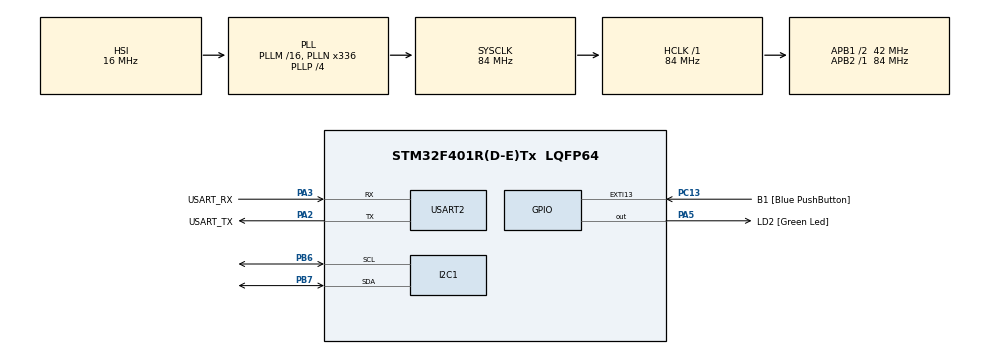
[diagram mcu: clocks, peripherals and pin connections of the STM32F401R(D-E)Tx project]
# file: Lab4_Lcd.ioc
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Mcu.Family=STM32F4
Mcu.Name=STM32F401R(D-E)Tx
Mcu.Package=LQFP64
NVIC.PriorityGroup=NVIC_PRIORITYGROUP_0
NVIC.TIM1_BRK_TIM9_IRQn=true\:0\:0\:false\:false\:true\:true\:true\:true
PA13.GPIO_Label=TMS
PA13.Mode=Serial_Wire
PA13.Signal=SYS_JTMS-SWDIO
PA14.GPIO_Label=TCK
PA14.Mode=Serial_Wire
PA14.Signal=SYS_JTCK-SWCLK
PA2.GPIO_Label=USART_TX
PA2.GPIO_Mode=GPIO_MODE_AF_PP
PA2.GPIO_PuPd=GPIO_NOPULL
PA2.GPIO_Speed=GPIO_SPEED_FREQ_LOW
PA2.Mode=Asynchronous
PA2.Signal=USART2_TX
PA3.GPIO_Label=USART_RX
PA3.GPIO_Mode=GPIO_MODE_AF_PP
PA3.GPIO_PuPd=GPIO_NOPULL
PA3.GPIO_Speed=GPIO_SPEED_FREQ_LOW
PA3.Mode=Asynchronous
PA3.Signal=USART2_RX
PA5.GPIO_Label=LD2 [Green Led]
PA5.GPIO_Mode=GPIO_MODE_OUTPUT_PP
PA5.GPIO_PuPd=GPIO_NOPULL
PA5.GPIO_Speed=GPIO_SPEED_FREQ_LOW
PA5.Signal=GPIO_Output
PB3.GPIO_Label=SWO
PB3.Signal=SYS_JTDO-SWO
PB6.Mode=I2C
PB6.Signal=I2C1_SCL
PB7.Mode=I2C
PB7.Signal=I2C1_SDA
PC13-ANTI_TAMP.GPIO_Label=B1 [Blue PushButton]
PC13-ANTI_TAMP.GPIO_ModeDefaultEXTI=GPIO_MODE_IT_FALLING
PC13-ANTI_TAMP.GPIO_PuPd=GPIO_NOPULL
PC13-ANTI_TAMP.Signal=GPXTI13
PC14-OSC32_IN.Mode=LSE-External-Oscillator
PC14-OSC32_IN.Signal=RCC_OSC32_IN
PC15-OSC32_OUT.Mode=LSE-External-Oscillator
PC15-OSC32_OUT.Signal=RCC_OSC32_OUT
PH0\ -\ OSC_IN.Mode=HSE-External-Clock-Source
PH0\ -\ OSC_IN.Signal=RCC_OSC_IN
PH1\ -\ OSC_OUT.Mode=HSE-External-Clock-Source
PH1\ -\ OSC_OUT.Signal=RCC_OSC_OUT
ProjectManager.HeapSize=0x200
ProjectManager.StackSize=0x400
ProjectManager.TargetToolchain=STM32CubeIDE
RCC.48MHZClocksFreq_Value=48000000
RCC.AHBFreq_Value=84000000
RCC.APB1CLKDivider=RCC_HCLK_DIV2
RCC.APB1Freq_Value=42000000
RCC.APB1TimFreq_Value=84000000
RCC.APB2Freq_Value=84000000
RCC.APB2TimFreq_Value=84000000
RCC.CortexFreq_Value=84000000
RCC.HCLKFreq_Value=84000000
RCC.HSE_VALUE=8000000
RCC.HSI_VALUE=16000000
RCC.PLLN=336
RCC.PLLP=RCC_PLLP_DIV4
RCC.PLLQ=7
RCC.SYSCLKFreq_VALUE=84000000
RCC.SYSCLKSource=RCC_SYSCLKSOURCE_PLLCLK
RCC.VCOOutputFreq_Value=336000000
TIM2.Period=999
TIM2.Prescaler=83
TIM9.Period=999
TIM9.Prescaler=41999
USART2.VirtualMode=VM_ASYNC
VP_TIM2_VS_ClockSourceINT.Mode=Internal
VP_TIM9_VS_ClockSourceINT.Mode=Internal
board=NUCLEO-F401RE

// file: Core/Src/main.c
/* USER CODE BEGIN Header */
/**
  ******************************************************************************
  * @file           : main.c
  * @brief          : Main program body
  ******************************************************************************
  * @attention
  *
  * Copyright (c) 2024 STMicroelectronics.
  * All rights reserved.
  *
  * This software is licensed under terms that can be found in the LICENSE file
  * in the root directory of this software component.
  * If no LICENSE file comes with this software, it is provided AS-IS.
  *
  ******************************************************************************
  */
/* USER CODE END Header */
#include "main.h"

/* USER CODE BEGIN Includes */
#include "lcd.h"
#include <stdio.h>
/* USER CODE END Includes */

I2C_HandleTypeDef hi2c1;

TIM_HandleTypeDef htim2;
TIM_HandleTypeDef htim9;

UART_HandleTypeDef huart2;

/* USER CODE BEGIN PV */
/* Declare LCD variable at the beginning of main() or as a global variable */
TextLCDType lcd;

struct clock_data {
    uint8_t hours;
    uint8_t minutes;
    uint8_t seconds;
};

struct clock_data my_clock;

volatile uint8_t time_update_flag = 0;  // Global flagga för tidsuppdatering

/* USER CODE END PV */

void SystemClock_Config(void);
static void MX_GPIO_Init(void);
static void MX_USART2_UART_Init(void);
static void MX_I2C1_Init(void);
static void MX_TIM2_Init(void);
static void MX_TIM9_Init(void);

/* USER CODE BEGIN 0 */

void cd_set(struct clock_data *pcd, uint8_t hrs, uint8_t min, uint8_t sec) {
    pcd->hours = hrs;
    pcd->minutes = min;
    pcd->seconds = sec;
}

void cd_tick(struct clock_data *pcd) {
    pcd->seconds++;
    if (pcd->seconds >= 60) {
        pcd->seconds = 0;
        pcd->minutes++;
        if (pcd->minutes >= 60) {
            pcd->minutes = 0;
            pcd->hours++;
            if (pcd->hours >= 24) {
                pcd->hours = 0;
            }
        }
    }
}

void DisplayTimeOnLCD(TextLCDType *hlcd, uint8_t hours, uint8_t minutes, uint8_t seconds) {
    char time_str[12];  // Format för HH:MM:SS
    sprintf(time_str, "%02d:%02d:%02d", hours, minutes, seconds);  // Formatera tiden
    //TextLCD_Clear(hlcd);  // Rensa LCD-skärmen
    TextLCD_Position(hlcd, 0, 1);  // Ställ in position på andra raden
    TextLCD_PutStr(hlcd, time_str);  // Skriv ut tiden på LCD
}

void uart_print_cd(UART_HandleTypeDef *huart, struct clock_data *pcd) {
    char buffer[30];
    int len;

    // Format time as HH:MM:SS
    len = sprintf(buffer, "\r%02d:%02d:%02d", pcd->hours, pcd->minutes, pcd->seconds);

    // Send the formatted string via UART
    HAL_UART_Transmit(huart, (uint8_t*)buffer, len, HAL_MAX_DELAY);
}

void clock_mode(void) {
    cd_set(&my_clock, 23, 59, 45);
    TextLCD_Clear(&lcd);  // Rensa LCD-skärmen

    DisplayTimeOnLCD(&lcd, my_clock.hours, my_clock.minutes, my_clock.seconds);

    HAL_TIM_Base_Start_IT(&htim9);

    while (1) {
        DisplayTimeOnLCD(&lcd, my_clock.hours, my_clock.minutes, my_clock.seconds);

        // Kontrollera om tiden ska uppdateras
        if (time_update_flag) {
            cd_tick(&my_clock);  // Uppdatera klockan
            time_update_flag = 0;
        }
    }
}

void wait_for_button_press(void)
{
    while (HAL_GPIO_ReadPin(B1_GPIO_Port, B1_Pin) == GPIO_PIN_SET)
    {
        /* Gör ingenting, vänta på att knappen trycks ned */
    }

    while (HAL_GPIO_ReadPin(B1_GPIO_Port, B1_Pin) == GPIO_PIN_RESET)
    {
        /* Gör ingenting, vänta på att knappen släpps */
    }
}

void HAL_TIM_PeriodElapsedCallback(TIM_HandleTypeDef *htim) {
    static uint8_t half_second_flag = 0;

    if (htim->Instance == TIM9) {
        half_second_flag = !half_second_flag;  // Toggla flagga för halv sekund

        if (!half_second_flag) {  // Endast när en sekund har passerat
            time_update_flag = 1;
        }
    }
}

/* USER CODE END 0 */

int main(void)
{

  /* MCU Configuration--------------------------------------------------------*/

  /* Reset of all peripherals, Initializes the Flash interface and the Systick. */
  HAL_Init();

  /* Configure the system clock */
  SystemClock_Config();

  /* Initialize all configured peripherals */
  MX_GPIO_Init();
  MX_USART2_UART_Init();
  MX_I2C1_Init();
  MX_TIM2_Init();
  MX_TIM9_Init();
  /* USER CODE BEGIN 2 */

  TextLCD_Init(&lcd, &hi2c1, 0x4E);

  TextLCD_Home(&lcd);

  TextLCD_PutStr(&lcd, "Hello World");
 // while(1) My_Delay(1);
  clock_mode();  // Starta klockläget

  char c = 0;
  const char ASCII_CAPITAL_OFFSET = 'A';
  const char LETTERS_TOTAL = 'Z' - 'A' + 1;

  /* USER CODE END 2 */

  /* Infinite loop */
  /* USER CODE BEGIN WHILE */
  while (1)
  {

	wait_for_button_press();  // Vänta på knapptryckning
	TextLCD_PutChar(&lcd, c + ASCII_CAPITAL_OFFSET);  // Visa bokstaven
	c = (c + 1) % LETTERS_TOTAL;  // Gå vidare till nästa bokstav
    /* USER CODE END WHILE */

  }
}

void SystemClock_Config(void)
{
  RCC_OscInitTypeDef RCC_OscInitStruct = {0};
  RCC_ClkInitTypeDef RCC_ClkInitStruct = {0};

  /** Configure the main internal regulator output voltage
  */
  __HAL_RCC_PWR_CLK_ENABLE();
  __HAL_PWR_VOLTAGESCALING_CONFIG(PWR_REGULATOR_VOLTAGE_SCALE2);

  /** Initializes the RCC Oscillators according to the specified parameters
  * in the RCC_OscInitTypeDef structure.
  */
  RCC_OscInitStruct.OscillatorType = RCC_OSCILLATORTYPE_HSI;
  RCC_OscInitStruct.HSIState = RCC_HSI_ON;
  RCC_OscInitStruct.HSICalibrationValue = RCC_HSICALIBRATION_DEFAULT;
  RCC_OscInitStruct.PLL.PLLState = RCC_PLL_ON;
  RCC_OscInitStruct.PLL.PLLSource = RCC_PLLSOURCE_HSI;
  RCC_OscInitStruct.PLL.PLLM = 16;
  RCC_OscInitStruct.PLL.PLLN = 336;
  RCC_OscInitStruct.PLL.PLLP = RCC_PLLP_DIV4;
  RCC_OscInitStruct.PLL.PLLQ = 7;
  if (HAL_RCC_OscConfig(&RCC_OscInitStruct) != HAL_OK)
  {
    Error_Handler();
  }

  /** Initializes the CPU, AHB and APB buses clocks
  */
  RCC_ClkInitStruct.ClockType = RCC_CLOCKTYPE_HCLK|RCC_CLOCKTYPE_SYSCLK
                              |RCC_CLOCKTYPE_PCLK1|RCC_CLOCKTYPE_PCLK2;
  RCC_ClkInitStruct.SYSCLKSource = RCC_SYSCLKSOURCE_PLLCLK;
  RCC_ClkInitStruct.AHBCLKDivider = RCC_SYSCLK_DIV1;
  RCC_ClkInitStruct.APB1CLKDivider = RCC_HCLK_DIV2;
  RCC_ClkInitStruct.APB2CLKDivider = RCC_HCLK_DIV1;

  if (HAL_RCC_ClockConfig(&RCC_ClkInitStruct, FLASH_LATENCY_2) != HAL_OK)
  {
    Error_Handler();
  }
}

static void MX_I2C1_Init(void)
{

  hi2c1.Instance = I2C1;
  hi2c1.Init.ClockSpeed = 100000;
  hi2c1.Init.DutyCycle = I2C_DUTYCYCLE_2;
  hi2c1.Init.OwnAddress1 = 0;
  hi2c1.Init.AddressingMode = I2C_ADDRESSINGMODE_7BIT;
  hi2c1.Init.DualAddressMode = I2C_DUALADDRESS_DISABLE;
  hi2c1.Init.OwnAddress2 = 0;
  hi2c1.Init.GeneralCallMode = I2C_GENERALCALL_DISABLE;
  hi2c1.Init.NoStretchMode = I2C_NOSTRETCH_DISABLE;
  if (HAL_I2C_Init(&hi2c1) != HAL_OK)
  {
    Error_Handler();
  }

}

static void MX_TIM2_Init(void)
{

  TIM_ClockConfigTypeDef sClockSourceConfig = {0};
  TIM_MasterConfigTypeDef sMasterConfig = {0};

  htim2.Instance = TIM2;
  htim2.Init.Prescaler = 83;
  htim2.Init.CounterMode = TIM_COUNTERMODE_UP;
  htim2.Init.Period = 999;
  htim2.Init.ClockDivision = TIM_CLOCKDIVISION_DIV1;
  htim2.Init.AutoReloadPreload = TIM_AUTORELOAD_PRELOAD_DISABLE;
  if (HAL_TIM_Base_Init(&htim2) != HAL_OK)
  {
    Error_Handler();
  }
  sClockSourceConfig.ClockSource = TIM_CLOCKSOURCE_INTERNAL;
  if (HAL_TIM_ConfigClockSource(&htim2, &sClockSourceConfig) != HAL_OK)
  {
    Error_Handler();
  }
  sMasterConfig.MasterOutputTrigger = TIM_TRGO_RESET;
  sMasterConfig.MasterSlaveMode = TIM_MASTERSLAVEMODE_DISABLE;
  if (HAL_TIMEx_MasterConfigSynchronization(&htim2, &sMasterConfig) != HAL_OK)
  {
    Error_Handler();
  }

}

static void MX_TIM9_Init(void)
{

  TIM_ClockConfigTypeDef sClockSourceConfig = {0};

  htim9.Instance = TIM9;
  htim9.Init.Prescaler = 41999;
  htim9.Init.CounterMode = TIM_COUNTERMODE_UP;
  htim9.Init.Period = 999;
  htim9.Init.ClockDivision = TIM_CLOCKDIVISION_DIV1;
  htim9.Init.AutoReloadPreload = TIM_AUTORELOAD_PRELOAD_DISABLE;
  if (HAL_TIM_Base_Init(&htim9) != HAL_OK)
  {
    Error_Handler();
  }
  sClockSourceConfig.ClockSource = TIM_CLOCKSOURCE_INTERNAL;
  if (HAL_TIM_ConfigClockSource(&htim9, &sClockSourceConfig) != HAL_OK)
  {
    Error_Handler();
  }

}

static void MX_USART2_UART_Init(void)
{

  huart2.Instance = USART2;
  huart2.Init.BaudRate = 115200;
  huart2.Init.WordLength = UART_WORDLENGTH_8B;
  huart2.Init.StopBits = UART_STOPBITS_1;
  huart2.Init.Parity = UART_PARITY_NONE;
  huart2.Init.Mode = UART_MODE_TX_RX;
  huart2.Init.HwFlowCtl = UART_HWCONTROL_NONE;
  huart2.Init.OverSampling = UART_OVERSAMPLING_16;
  if (HAL_UART_Init(&huart2) != HAL_OK)
  {
    Error_Handler();
  }

}

static void MX_GPIO_Init(void)
{
  GPIO_InitTypeDef GPIO_InitStruct = {0};

  /* GPIO Ports Clock Enable */
  __HAL_RCC_GPIOC_CLK_ENABLE();
  __HAL_RCC_GPIOH_CLK_ENABLE();
  __HAL_RCC_GPIOA_CLK_ENABLE();
  __HAL_RCC_GPIOB_CLK_ENABLE();

  /*Configure GPIO pin Output Level */
  HAL_GPIO_WritePin(LD2_GPIO_Port, LD2_Pin, GPIO_PIN_RESET);

  /*Configure GPIO pin : B1_Pin */
  GPIO_InitStruct.Pin = B1_Pin;
  GPIO_InitStruct.Mode = GPIO_MODE_IT_FALLING;
  GPIO_InitStruct.Pull = GPIO_NOPULL;
  HAL_GPIO_Init(B1_GPIO_Port, &GPIO_InitStruct);

  /*Configure GPIO pin : LD2_Pin */
  GPIO_InitStruct.Pin = LD2_Pin;
  GPIO_InitStruct.Mode = GPIO_MODE_OUTPUT_PP;
  GPIO_InitStruct.Pull = GPIO_NOPULL;
  GPIO_InitStruct.Speed = GPIO_SPEED_FREQ_LOW;
  HAL_GPIO_Init(LD2_GPIO_Port, &GPIO_InitStruct);

}

void Error_Handler(void)
{
  __disable_irq();
  while (1)
  {
  }
}
